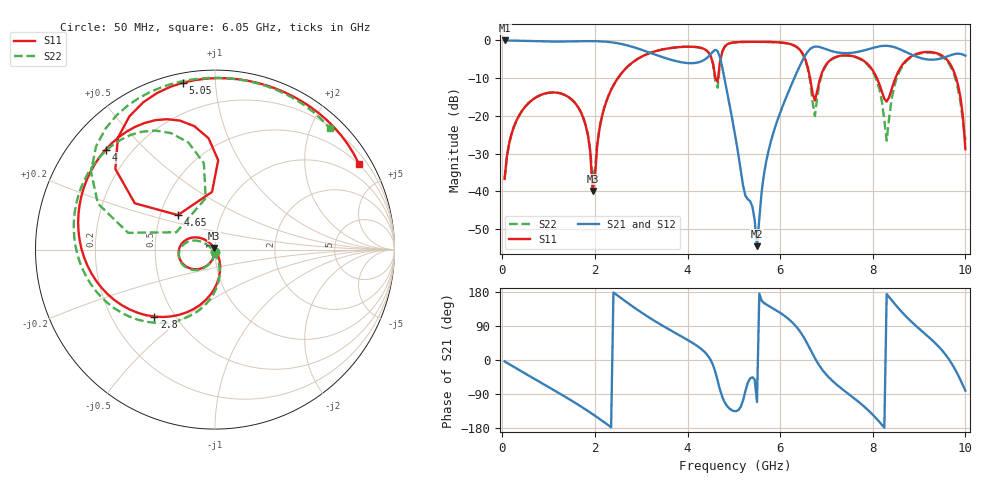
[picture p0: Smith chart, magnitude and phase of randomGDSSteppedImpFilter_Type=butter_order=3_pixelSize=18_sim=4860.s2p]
! freq	dB(S11)	phase(S11)	dB(S12)	phase(S12)
!  dB(S21)	phase(S21)	dB(S22)	phase(S22)
!S-par simulation data
#  GHz  S  DB  R 50
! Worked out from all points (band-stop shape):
!   200 points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, 50 MHz to 10 GHz, reference 50 ohm
!   highest |S21| = -0.01 dB at 50 MHz (marker M1); lowest = -54.5 dB at 5.5 GHz (marker M2)
!   |S21| within 3 dB of the highest: start of sweep to 3.131 GHz; 7.688 GHz to 8.705 GHz (1.017 GHz wide, 12.4 % of centre) (the widest 2 of 4)
!   lowest |S11| = -39.9 dB at 1.95 GHz (marker M3), VSWR 1.02, Z = 49.6 + j0.917 ohm
!   |S11| at or under -10 dB: start of sweep to 2.496 GHz; 6.646 GHz to 6.866 GHz (219.5 MHz wide, 3.25 % of centre); 8.089 GHz to 8.489 GHz (399.9 MHz wide, 4.82 % of centre) (the widest 3 of 5)
!   |S22| runs from -36.7 to -0.4 dB; largest |S21 - S12| = 0
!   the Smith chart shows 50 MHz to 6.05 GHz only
!   S11 on the Smith chart (normalised r, x): 50 MHz: 1.00, -0.03; 2.8 GHz: 0.39, -0.39; 4 GHz: 0.11, +0.38; 4.65 GHz: 0.62, +0.26; 5.05 GHz: 0.05, +0.82; 6.05 GHz: 0.48, +3.58
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0.05  -36.67 -92.7  -0.01 -3.7  -0.01 -3.7  -36.66 -92.5
0.65  -15.74 -138.4  -0.18 -46.8  -0.18 -46.8  -15.73 -136.0
1.75  -20.54 139.1  -0.20 -126.7  -0.20 -126.7  -20.50 150.9
1.95  -39.88 114.2  -0.19 -142.8  -0.19 -142.8  -36.23 179.8
2.2  -17.93 -77.5  -0.30 -164.2  -0.30 -164.2  -17.87 -78.1
2.8  -5.96 -132.2  -1.66 142.5  -1.66 142.5  -5.95 -125.9
3.4  -2.56 179.5  -4.18 94.9  -4.18 94.9  -2.55 -171.5
4  -1.67 137.6  -6.00 53.0  -6.00 53.0  -1.66 148.8
4.45  -3.13 99.5  -4.30 9.5  -4.30 9.5  -3.18 110.7
4.65  -10.98 137.1  -2.83 -54.1  -2.83 -54.1  -12.54 155.8
4.8  -1.68 131.0  -10.21 -111.1  -10.21 -111.1  -1.76 147.8
5.05  -0.48 100.9  -26.68 -135.0  -26.68 -135.0  -0.49 116.9
5.5  -0.37 69.1  -54.52 -110.8  -54.52 -110.8  -0.38 85.4
5.7  -0.39 56.1  -32.02 146.6  -32.02 146.6  -0.40 72.3
6.05  -0.60 30.7  -17.54 120.5  -17.54 120.5  -0.62 46.6
6.7  -13.98 -23.1  -1.84 16.5  -1.84 16.5  -16.30 -20.6
7.5  -4.02 -7.7  -3.34 -91.9  -3.34 -91.9  -4.09 7.0
8.35  -15.14 4.9  -1.48 166.6  -1.48 166.6  -20.98 50.8
8.65  -6.28 10.9  -2.69 123.7  -2.69 123.7  -6.68 35.8
9.35  -3.29 -49.3  -5.05 44.4  -5.05 44.4  -3.46 -39.3
9.8  -9.93 -97.6  -3.54 -30.0  -3.54 -30.0  -10.79 -107.3
10  -28.83 -58.1  -4.05 -80.8  -4.05 -80.8  -26.42 164.2
